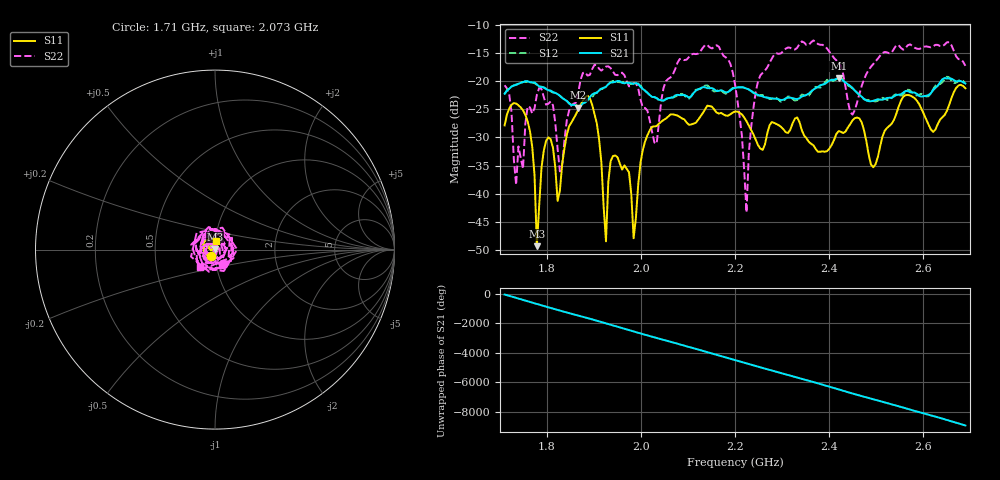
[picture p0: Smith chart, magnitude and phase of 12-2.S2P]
!Agilent Technologies,E5061B,MY49305579,A.02.22
!Date: Thu Aug 24 16:22:29 2017
!Data & Calibration Information:
!Freq	S11:SOLT2(ON)	S21:SOLT2(ON)	S12:SOLT2(ON)	S22:SOLT2(ON)
# Hz S dB R 50
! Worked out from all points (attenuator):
!   201 points, 1.71 GHz to 2.69 GHz, reference 50 ohm
!   highest |S21| = -19.42 dB at 2.421 GHz (marker M1); lowest = -24.7 dB at 1.867 GHz (marker M2)
!   lowest |S11| = -49.3 dB at 1.779 GHz (marker M3), VSWR 1.01, Z = 50 + j0.342 ohm
!   |S11| at or under -10 dB: start of sweep to end of sweep
!   |S22| runs from -43.3 to -12.8 dB; largest |S21 - S12| = 0.0065
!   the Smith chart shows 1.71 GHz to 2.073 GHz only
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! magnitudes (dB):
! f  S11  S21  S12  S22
! 1.71 GHz  -27.9  -22.2  -22.4  -20.7
! 1.734 GHz  -24.0  -20.7  -20.6  -38.4
! 1.764 GHz  -28.9  -20.2  -20.2  -24.7
! 1.779 GHz  -49.3  -20.6  -20.6  -22.4
! 1.798 GHz  -30.6  -21.4  -21.3  -24.2
! 1.828 GHz  -39.4  -22.6  -22.6  -36.0
! 1.867 GHz  -25.0  -24.7  -24.5  -22.0
! 1.877 GHz  -23.4  -24.0  -24.0  -18.5
! 1.906 GHz  -27.5  -22.1  -21.9  -17.2
! 1.926 GHz  -48.4  -21.0  -21.0  -17.4
! 1.94 GHz  -33.3  -20.2  -20.0  -18.3
! 1.984 GHz  -47.9  -20.4  -20.4  -20.4
! 2.038 GHz  -27.5  -23.3  -23.4  -27.4
! 2.136 GHz  -25.0  -21.1  -20.8  -13.6
! 2.2 GHz  -25.4  -21.2  -21.2  -20.6
! 2.224 GHz  -27.1  -21.3  -21.4  -43.3
! 2.249 GHz  -31.4  -22.5  -22.6  -20.0
! 2.367 GHz  -31.4  -21.5  -21.3  -12.8
! 2.421 GHz  -28.9  -19.4  -19.3  -16.6
! 2.45 GHz  -27.0  -21.2  -21.3  -25.9
! 2.528 GHz  -27.9  -23.0  -23.3  -15.1
! 2.69 GHz  -21.3  -20.4  -20.4  -17.3
